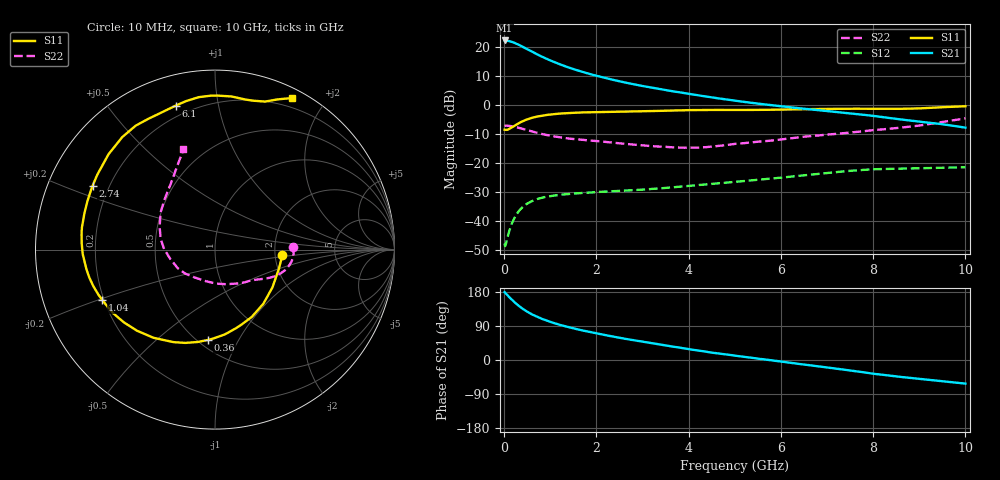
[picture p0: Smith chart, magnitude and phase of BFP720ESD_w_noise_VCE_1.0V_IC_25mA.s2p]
! Infineon Technologies  Discrete & RF Semiconductors
! BFP720ESD
! VCE =  1.0 V,  IC =  25 mA
! Common Emitter S-Parameters:  Jan 2016
# GHz  S  MA  R  50
!  f  S11  S21  S12  S22
! GHz  MAG  ANG  MAG  ANG  MAG  ANG  MAG  ANG
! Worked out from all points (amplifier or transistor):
!   233 points, 10 MHz to 10 GHz, reference 50 ohm
!   highest |S21| = 22.2 dB at 10 MHz (marker M1)
!   |S21| within 3 dB of that: start of sweep to 498.9 MHz
!   unconditionally stable (mu >= 1): start of sweep to end of sweep
!   at 200 MHz: K = 2.73, MAG = 23.4 dB, |S12| = -39.7 dB
!   at 1.74 GHz: K = 1.79, MAG = 15.6 dB, |S12| = -30.3 dB
!   at 10 GHz: K = 1.26, MAG = 3.7 dB, |S12| = -21.5 dB
!   lowest NFmin = 1.07 dB at 450 MHz
!   S11 on the Smith chart (normalised r, x): 10 MHz: 2.18, -0.14; 360 MHz: 0.56, -0.76; 1.04 GHz: 0.19, -0.21; 2.74 GHz: 0.14, +0.24; 6.1 GHz: 0.14, +0.75; 10 GHz: 0.10, +1.63
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0.01  0.3738 -4.2  12.86 179.0  0.0041 22.5  0.4344 1.9
0.1  0.3832 -33.4  12.6 167.3  0.0063 46.2  0.4371 -5.9
0.2  0.4276 -61.5  11.91 155.2  0.0104 53.3  0.4243 -11.5
0.3  0.476 -83.5  10.99 144.5  0.0142 51.8  0.4066 -16.4
0.36  0.5046 -94.3  10.41 138.9  0.0162 49.7  0.3945 -18.9
0.42  0.5314 -103.5  9.823 133.7  0.018 47.5  0.3826 -21.1
0.5  0.5649 -114.1  9.091 127.5  0.02 44.7  0.3667 -23.8
0.6  0.5992 -124.9  8.244 120.5  0.022 41.5  0.3485 -26.4
0.68  0.6202 -132.2  7.655 116.0  0.0234 39.1  0.3352 -28.3
0.82  0.6525 -142.7  6.756 108.6  0.0252 35.7  0.3153 -31.1
1.04  0.6876 -155.8  5.647 99.0  0.0272 31.8  0.2906 -35.0
1.3  0.7175 -167.5  4.692 89.7  0.0288 28.6  0.2698 -39.3
1.68  0.7409 179.4  3.738 78.5  0.0304 26.3  0.2505 -45.6
2.2  0.755 165.1  2.893 65.4  0.0322 25.0  0.231 -54.6
2.74  0.7686 152.6  2.321 53.5  0.0339 25.2  0.2092 -66.4
3.4  0.791 139.9  1.856 40.5  0.0367 26.3  0.1909 -85.0
4  0.8124 129.5  1.552 28.5  0.0402 27.0  0.1832 -105.5
5.1  0.8176 116.1  1.154 10.0  0.0481 26.0  0.216 -143.8
6.1  0.8316 105.2  0.929 -5.6  0.057 23.4  0.2586 -170.6
6.8  0.849 98.0  0.811 -16.5  0.0648 19.5  0.297 173.0
8.4  0.8531 78.4  0.588 -41.9  0.0793 3.3  0.3915 136.6
10  0.9472 63.0  0.406 -62.3  0.0845 -9.2  0.5857 107.5
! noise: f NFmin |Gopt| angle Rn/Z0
0.45  1.07  0.02  -141  0.18
0.9  1.1  0.05  -148  0.12
1.9  1.13  0.08  -133  0.15
2.4  1.13  0.1  -124  0.13
5.5  1.29  0.28  -102  0.15
10  1.68  0.53  -84  0.53
